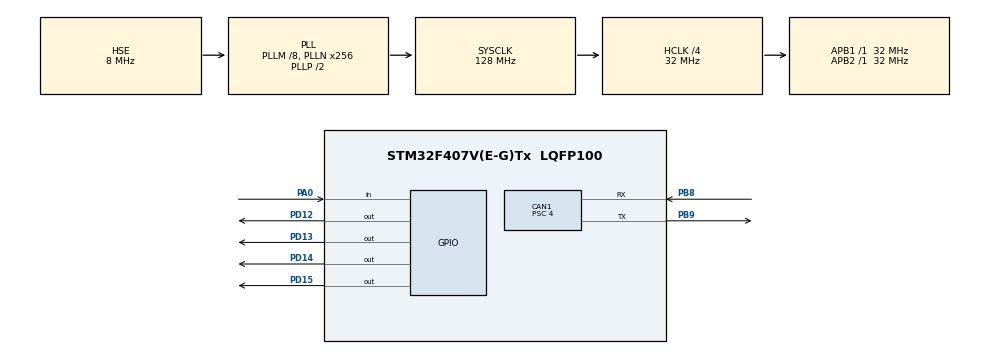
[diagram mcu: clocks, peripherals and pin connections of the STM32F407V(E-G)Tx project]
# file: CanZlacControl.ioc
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CAN1.BS1=CAN_BS1_13TQ
CAN1.BS2=CAN_BS2_2TQ
CAN1.CalculateTimeQuantum=125.0
CAN1.Prescaler=4
Mcu.Family=STM32F4
Mcu.Name=STM32F407V(E-G)Tx
Mcu.Package=LQFP100
NVIC.CAN1_RX0_IRQn=true\:0\:0\:false\:false\:true\:true\:true
NVIC.CAN1_TX_IRQn=true\:0\:0\:false\:false\:true\:true\:true
NVIC.PriorityGroup=NVIC_PRIORITYGROUP_4
PA0-WKUP.Signal=GPIO_Input
PB8.Mode=Master
PB8.Signal=CAN1_RX
PB9.Mode=Master
PB9.Signal=CAN1_TX
PD12.Signal=GPIO_Output
PD13.Signal=GPIO_Output
PD14.Signal=GPIO_Output
PD15.Signal=GPIO_Output
PH0-OSC_IN.Mode=HSE-External-Oscillator
PH0-OSC_IN.Signal=RCC_OSC_IN
PH1-OSC_OUT.Mode=HSE-External-Oscillator
PH1-OSC_OUT.Signal=RCC_OSC_OUT
ProjectManager.HeapSize=0x200
ProjectManager.StackSize=0x400
ProjectManager.TargetToolchain=TrueSTUDIO
RCC.48MHZClocksFreq_Value=64000000
RCC.AHBCLKDivider=RCC_SYSCLK_DIV4
RCC.AHBFreq_Value=32000000
RCC.APB1Freq_Value=32000000
RCC.APB1TimFreq_Value=32000000
RCC.APB2Freq_Value=32000000
RCC.APB2TimFreq_Value=32000000
RCC.CortexFreq_Value=32000000
RCC.HCLKFreq_Value=32000000
RCC.HSE_VALUE=8000000
RCC.HSI_VALUE=16000000
RCC.LSE_VALUE=32768
RCC.PLLM=8
RCC.PLLN=256
RCC.PLLSourceVirtual=RCC_PLLSOURCE_HSE
RCC.SYSCLKFreq_VALUE=128000000
RCC.SYSCLKSource=RCC_SYSCLKSOURCE_PLLCLK
RCC.VCOOutputFreq_Value=256000000
board=custom

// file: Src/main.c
/* USER CODE BEGIN Header */
/**
  ******************************************************************************
  * @file           : main.c
  * @brief          : Main program body
  ******************************************************************************
  * @attention
  *
  * <h2><center>&copy; Copyright (c) 2020 STMicroelectronics.
  * All rights reserved.</center></h2>
  *
  * This software component is licensed by ST under BSD 3-Clause license,
  * the "License"; You may not use this file except in compliance with the
  * License. You may obtain a copy of the License at:
  *                        opensource.org/licenses/BSD-3-Clause
  *
  ******************************************************************************
  */
/* USER CODE END Header */

#include "main.h"
#include "can.h"
#include "gpio.h"

/* USER CODE BEGIN Includes */
#include "bsp_key.h"
#include "bsp_led.h"
#include "bsp_can.h"
//#include "bsp_pwm.h"
#include "pid.h"
/* USER CODE END Includes */

/* USER CODE BEGIN PV */
extern moto_info_t motor_info[MOTOR_MAX_NUM];
int16_t led_cnt;
pid_struct_t motor_pid[7];
float target_speed;
uint16_t pwm_pulse = 1080;  // default pwm pulse width:1080~1920
/* USER CODE END PV */

void SystemClock_Config(void);

int main(void)
{

  /* MCU Configuration--------------------------------------------------------*/

  /* Reset of all peripherals, Initializes the Flash interface and the Systick. */
  HAL_Init();

  /* Configure the system clock */
  SystemClock_Config();

  /* Initialize all configured peripherals */
  MX_GPIO_Init();
  MX_CAN1_Init();
  /* USER CODE BEGIN 2 */
  can_user_init(&hcan1);
  /* USER CODE END 2 */

  /* Infinite loop */
  /* USER CODE BEGIN WHILE */

  while (1)
  {
	  led_cnt ++;
	  if (led_cnt == 250)
	  {
		  led_cnt = 0;
		  LED_RED_TOGGLE(); //blink cycle 500ms
	  }

	  if (key_scan())
	  	  {
		  	  set_motor_speed_mode();
		  	  set_motor_acceleration();
		  	  set_motor_speed();
		  	  set_motor_enable();
	  	  }

    /* USER CODE END WHILE */

  }
}

void SystemClock_Config(void)
{
  RCC_OscInitTypeDef RCC_OscInitStruct = {0};
  RCC_ClkInitTypeDef RCC_ClkInitStruct = {0};

  /** Configure the main internal regulator output voltage
  */
  __HAL_RCC_PWR_CLK_ENABLE();
  __HAL_PWR_VOLTAGESCALING_CONFIG(PWR_REGULATOR_VOLTAGE_SCALE1);
  /** Initializes the CPU, AHB and APB busses clocks
  */
  RCC_OscInitStruct.OscillatorType = RCC_OSCILLATORTYPE_HSE;
  RCC_OscInitStruct.HSEState = RCC_HSE_ON;
  RCC_OscInitStruct.PLL.PLLState = RCC_PLL_ON;
  RCC_OscInitStruct.PLL.PLLSource = RCC_PLLSOURCE_HSE;
  RCC_OscInitStruct.PLL.PLLM = 8;
  RCC_OscInitStruct.PLL.PLLN = 256;
  RCC_OscInitStruct.PLL.PLLP = RCC_PLLP_DIV2;
  RCC_OscInitStruct.PLL.PLLQ = 4;
  if (HAL_RCC_OscConfig(&RCC_OscInitStruct) != HAL_OK)
  {
    Error_Handler();
  }
  /** Initializes the CPU, AHB and APB busses clocks
  */
  RCC_ClkInitStruct.ClockType = RCC_CLOCKTYPE_HCLK|RCC_CLOCKTYPE_SYSCLK
                              |RCC_CLOCKTYPE_PCLK1|RCC_CLOCKTYPE_PCLK2;
  RCC_ClkInitStruct.SYSCLKSource = RCC_SYSCLKSOURCE_PLLCLK;
  RCC_ClkInitStruct.AHBCLKDivider = RCC_SYSCLK_DIV4;
  RCC_ClkInitStruct.APB1CLKDivider = RCC_HCLK_DIV1;
  RCC_ClkInitStruct.APB2CLKDivider = RCC_HCLK_DIV1;

  if (HAL_RCC_ClockConfig(&RCC_ClkInitStruct, FLASH_LATENCY_1) != HAL_OK)
  {
    Error_Handler();
  }
}

void Error_Handler(void)
{
}

/************************ (C) COPYRIGHT STMicroelectronics *****END OF FILE****/
